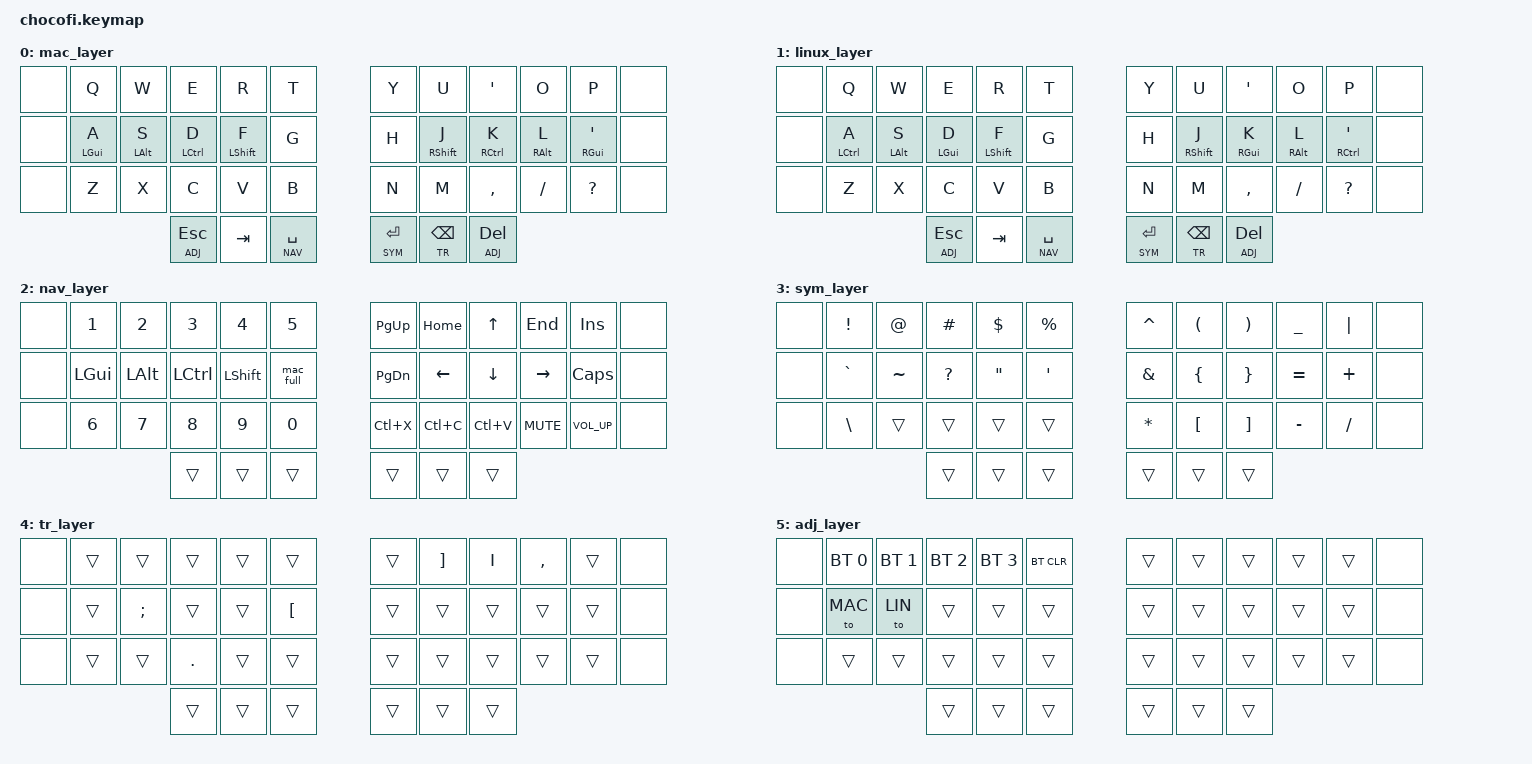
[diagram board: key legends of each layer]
/* 
 * CORNE KILIGINA GIRMIS CHOCOFI CONFIG
 * Dosya adı: corne.keymap (olmak zorunda)
 */

#include <behaviors.dtsi>
#include <dt-bindings/zmk/keys.h>
#include <dt-bindings/zmk/bt.h>
#include <dt-bindings/zmk/outputs.h>

/* TÜRKÇE KARAKTER TANIMLARI */
#define TR_I    SQT
#define TR_DOT  FSLH
#define TR_COMM KP_COMMA
#define TR_S    SEMI
#define TR_C    DOT
#define TR_O    COMMA
#define TR_U    RBKT
#define TR_G    LBKT
#define TR_II   I

#define MAC     0
#define LIN     1
#define NAV     2
#define SYM     3
#define TR      4
#define ADJ     5

/ {
    behaviors {
        hm: homerow_mods {
            compatible = "zmk,behavior-hold-tap";
            label = "HOMEROW_MODS";
            #binding-cells = <2>;
            tapping-term-ms = <200>;
            quick-tap-ms = <150>;
            flavor = "tap-preferred";
            bindings = <&kp>, <&kp>;
        };
    };

    macros {
        mac_full: mac_fullscreen {
            compatible = "zmk,behavior-macro";
            #binding-cells = <0>;
            bindings = <&kp LGUI &kp LCTRL &kp F>;
        };
        lin_full: linux_fullscreen {
            compatible = "zmk,behavior-macro";
            #binding-cells = <0>;
            bindings = <&kp F11>; 
        };
    };

    /* 
     * DİKKAT: Corne Shield kullandığımız için 42 tuş tanımlamalıyız.
     * Chocofi 36 tuş olduğu için her satırın başına ve sonuna &none ekledik.
     */
    keymap {
        compatible = "zmk,keymap";

        mac_layer {
            bindings = <
    &none  &kp Q       &kp W       &kp E       &kp R       &kp T          &kp Y       &kp U       &kp TR_I    &kp O       &kp P          &none
    &none  &hm LGUI A  &hm LALT S  &hm LCTRL D &hm LSHFT F &kp G          &kp H       &hm RSHFT J &hm RCTRL K &hm RALT L  &hm RGUI SQT   &none
    &none  &kp Z       &kp X       &kp C       &kp V       &kp B          &kp N       &kp M       &kp COMMA   &kp TR_DOT  &kp QMARK      &none
                                   &lt ADJ ESC &kp TAB     &lt NAV SPACE  &lt SYM ENTER &lt TR BSPC &lt ADJ DEL
            >;
        };

        linux_layer {
            bindings = <
    &none  &kp Q       &kp W       &kp E       &kp R       &kp T          &kp Y       &kp U       &kp TR_I    &kp O       &kp P          &none
    &none  &hm LCTRL A &hm LALT S  &hm LGUI D  &hm LSHFT F &kp G          &kp H       &hm RSHFT J &hm RGUI K  &hm RALT L  &hm RCTRL SQT  &none
    &none  &kp Z       &kp X       &kp C       &kp V       &kp B          &kp N       &kp M       &kp COMMA   &kp TR_DOT  &kp QMARK      &none
                                   &lt ADJ ESC &kp TAB     &lt NAV SPACE  &lt SYM ENTER &lt TR BSPC &lt ADJ DEL
            >;
        };

        nav_layer {
            bindings = <
    &none  &kp N1      &kp N2      &kp N3      &kp N4      &kp N5         &kp PG_UP   &kp HOME    &kp UP      &kp END     &kp INS        &none
    &none  &kp LGUI    &kp LALT    &kp LCTRL   &kp LSHFT   &mac_full      &kp PG_DN   &kp LEFT    &kp DOWN    &kp RIGHT   &kp CAPS       &none
    &none  &kp N6      &kp N7      &kp N8      &kp N9      &kp N0         &kp LC(X)   &kp LC(C)   &kp LC(V)   &kp C_MUTE  &kp C_VOL_UP   &none
                                   &trans      &trans      &trans         &trans      &trans      &trans
            >;
        };

        sym_layer {
            bindings = <
    &none  &kp EXCL    &kp AT      &kp HASH    &kp DLLR    &kp PRCNT      &kp CARET   &kp LPAR    &kp RPAR    &kp UNDER   &kp PIPE       &none
    &none  &kp GRAVE   &kp TILDE   &kp QMARK   &kp DQT     &kp SQT        &kp AMPS    &kp LBRC    &kp RBRC    &kp EQUAL   &kp PLUS       &none
    &none  &kp BSLH    &trans      &trans      &trans      &trans         &kp STAR    &kp LBKT    &kp RBKT    &kp MINUS   &kp FSLH       &none
                                   &trans      &trans      &trans         &trans      &trans      &trans
            >;
        };

        tr_layer {
            bindings = <
    &none  &trans      &trans      &trans      &trans      &trans         &trans      &kp TR_U    &kp TR_II   &kp TR_O    &trans         &none
    &none  &trans      &kp TR_S    &trans      &trans      &kp TR_G       &trans      &trans      &trans      &trans      &trans         &none
    &none  &trans      &trans      &kp TR_C    &trans      &trans         &trans      &trans      &trans      &trans      &trans         &none
                                   &trans      &trans      &trans         &trans      &trans      &trans
            >;
        };

        adj_layer {
            bindings = <
    &none  &bt BT_SEL 0 &bt BT_SEL 1 &bt BT_SEL 2 &bt BT_SEL 3 &bt BT_CLR &trans      &trans      &trans      &trans      &trans         &none
    &none  &to MAC      &to LIN      &trans       &trans       &trans     &trans      &trans      &trans      &trans      &trans         &none
    &none  &trans       &trans       &trans       &trans       &trans     &trans      &trans      &trans      &trans      &trans         &none
                                     &trans       &trans       &trans     &trans      &trans      &trans
            >;
        };
    };
};
